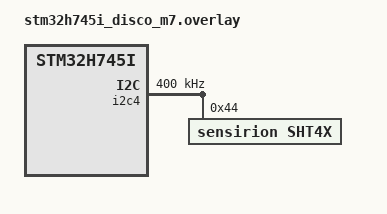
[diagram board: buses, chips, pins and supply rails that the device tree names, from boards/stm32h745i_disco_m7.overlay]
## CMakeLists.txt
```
# Copyright (c) 2025 Antmicro <www.antmicro.com>
# SPDX-License-Identifier: Apache-2.0

cmake_minimum_required(VERSION 3.20.0)

# set(BOARD "stm32h745i_disco/stm32h745xx/m7")
set(BOARD "awohali_h745/stm32h745xx/m4")

find_package(Zephyr REQUIRED HINTS $ENV{ZEPHYR_BASE})
project(sht4x)

FILE(GLOB app_sources src/*.c)
target_sources(app PRIVATE ${app_sources})
```

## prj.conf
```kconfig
# Copyright (c) 2025 Antmicro <www.antmicro.com>
# SPDX-License-Identifier: Apache-2.0

CONFIG_DEBUG_OPTIMIZATIONS=y
CONFIG_CBPRINTF_FP_SUPPORT=y
CONFIG_I2C=y
CONFIG_SENSOR=y
CONFIG_PM_DEVICE=y
CONFIG_LOG=y
CONFIG_SENSOR_LOG_LEVEL_DBG=y
```

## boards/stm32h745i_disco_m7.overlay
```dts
/*
 * Copyright (c) 2025 Antmicro <www.antmicro.com>
 *
 * SPDX-License-Identifier: Apache-2.0
 */

&i2c4 {
	status = "okay";
	clock-frequency = <I2C_BITRATE_FAST>;
	sht4x@44 {
		status = "okay";
		compatible = "sensirion,sht4x";
		reg = <0x44>;
		repeatability = <2>;
	};
};
```

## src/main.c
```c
/*
 * Copyright (c) 2025 Antmicro <www.antmicro.com>
 *
 * SPDX-License-Identifier: Apache-2.0
 */

#include <zephyr/kernel.h>
#include <zephyr/device.h>
#include <zephyr/drivers/sensor.h>
#include <stdio.h>

#include <zephyr/drivers/sensor/sht4x.h>

int main(void)
{
	const struct device *const sht = DEVICE_DT_GET_ANY(sensirion_sht4x);
	struct sensor_value temp, hum;

	if (!device_is_ready(sht)) {
		printf("Device %s is not ready.\n", sht->name);
		return 0;
	}

#if CONFIG_APP_USE_HEATER
	struct sensor_value heater_p;
	struct sensor_value heater_d;

	heater_p.val1 = CONFIG_APP_HEATER_PULSE_POWER;
	heater_d.val1 = !!CONFIG_APP_HEATER_PULSE_DURATION_LONG;
	sensor_attr_set(sht, SENSOR_CHAN_ALL, SENSOR_ATTR_SHT4X_HEATER_POWER, &heater_p);
	sensor_attr_set(sht, SENSOR_CHAN_ALL, SENSOR_ATTR_SHT4X_HEATER_DURATION, &heater_d);
#endif

	while (true) {
		if (sensor_sample_fetch(sht)) {
			printf("Failed to fetch sample from SHT4X device\n");
			return 0;
		}

		sensor_channel_get(sht, SENSOR_CHAN_AMBIENT_TEMP, &temp);
		sensor_channel_get(sht, SENSOR_CHAN_HUMIDITY, &hum);

#if CONFIG_APP_USE_HEATER
		/*
		 * Conditions in which it makes sense to activate the heater
		 * are application/environment specific.
		 *
		 * The heater should not be used above SHT4X_HEATER_MAX_TEMP (65 °C)
		 * as stated in the datasheet.
		 *
		 * The temperature data will not be updated here for obvious reasons.
		 **/
		if (hum.val1 > CONFIG_APP_HEATER_HUMIDITY_THRESH &&
			temp.val1 < SHT4X_HEATER_MAX_TEMP) {
			printf("Activating heater.\n");

			if (sht4x_fetch_with_heater(sht)) {
				printf("Failed to fetch sample from SHT4X device\n");
				return 0;
			}

			sensor_channel_get(sht, SENSOR_CHAN_HUMIDITY, &hum);
			}
#endif

		printf("SHT4X: %.2f Temp. [C] ; %0.2f RH [%%]\n", sensor_value_to_double(&temp),
			   sensor_value_to_double(&hum));

#if CONFIG_APP_USE_HEATER && !CONFIG_APP_HEATER_PULSE_DURATION
		k_sleep(K_MSEC(20000));
#else
		k_sleep(K_MSEC(2000));
#endif
	}
}
```
